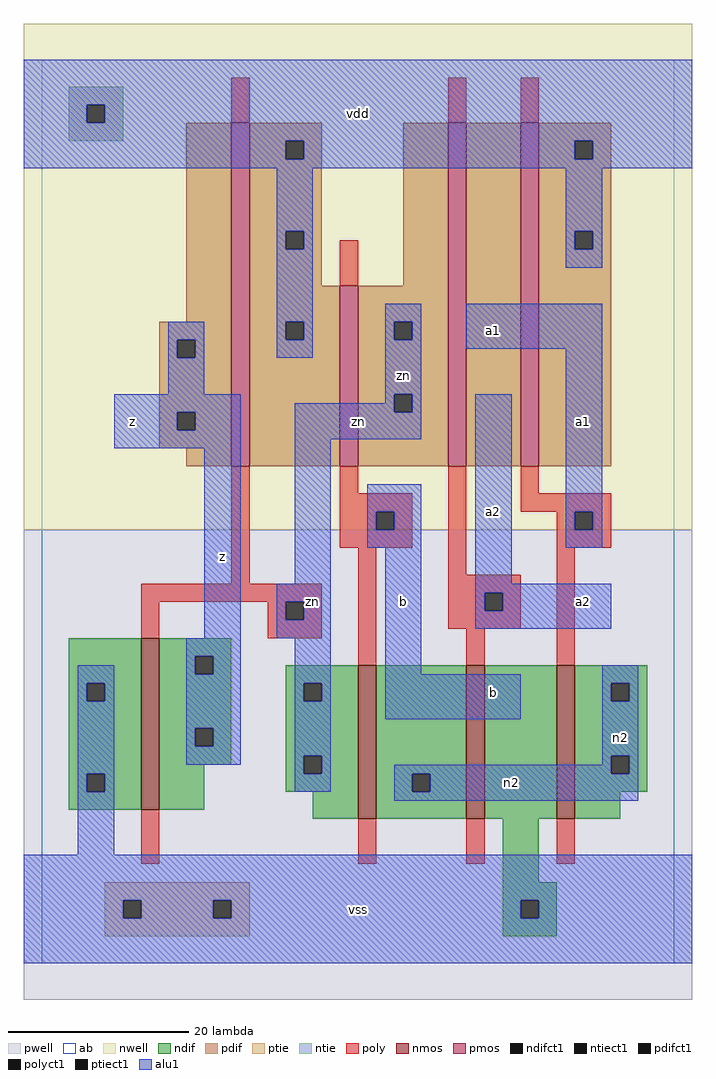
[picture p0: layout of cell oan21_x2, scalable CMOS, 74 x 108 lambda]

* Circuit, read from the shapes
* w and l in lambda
.subckt oan21_x2 a1 a2 b n2 vdd vss z zn
M1 z zn vss vss nfet w=19 l=2
M2 n2 b zn vss nfet w=17 l=2
M3 vss a2 n2 vss nfet w=17 l=2
M4 n2 a1 vss vss nfet w=17 l=2
M5 vdd zn z vdd pfet w=38 l=2
M6 zn b vdd vdd pfet w=20 l=2
M7 n1 a2 zn vdd pfet w=38 l=2
M8 vdd a1 n1 vdd pfet w=38 l=2
.ends

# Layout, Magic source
magic
tech scmos
<< ab >>
rect 0 0 70 100
<< nwell >>
rect -2 48 72 104
<< pwell >>
rect -2 -4 72 48
<< poly >>
rect 21 93 23 98
rect 45 93 47 98
rect 53 93 55 98
rect 33 75 35 80
rect 21 42 23 55
rect 33 52 35 55
rect 33 50 41 52
rect 33 48 37 50
rect 39 48 41 50
rect 33 46 41 48
rect 11 40 31 42
rect 11 36 13 40
rect 25 38 27 40
rect 29 38 31 40
rect 25 36 31 38
rect 35 33 37 46
rect 45 43 47 55
rect 53 52 55 55
rect 53 50 63 52
rect 57 48 59 50
rect 61 48 63 50
rect 57 46 63 48
rect 45 41 53 43
rect 45 39 49 41
rect 51 39 53 41
rect 45 37 53 39
rect 47 33 49 37
rect 57 33 59 46
rect 11 11 13 17
rect 35 11 37 16
rect 47 11 49 16
rect 57 11 59 16
<< ndif >>
rect 3 31 11 36
rect 3 29 5 31
rect 7 29 11 31
rect 3 21 11 29
rect 3 19 5 21
rect 7 19 11 21
rect 3 17 11 19
rect 13 34 21 36
rect 13 32 17 34
rect 19 32 21 34
rect 13 26 21 32
rect 13 24 17 26
rect 19 24 21 26
rect 13 22 21 24
rect 27 31 35 33
rect 27 29 29 31
rect 31 29 35 31
rect 27 23 35 29
rect 13 17 18 22
rect 27 21 29 23
rect 31 21 35 23
rect 27 19 35 21
rect 30 16 35 19
rect 37 21 47 33
rect 37 19 41 21
rect 43 19 47 21
rect 37 16 47 19
rect 49 16 57 33
rect 59 31 67 33
rect 59 29 63 31
rect 65 29 67 31
rect 59 23 67 29
rect 59 21 63 23
rect 65 21 67 23
rect 59 19 67 21
rect 59 16 64 19
rect 51 9 55 16
rect 51 7 57 9
rect 51 5 53 7
rect 55 5 57 7
rect 51 3 57 5
<< pdif >>
rect 16 71 21 93
rect 13 69 21 71
rect 13 67 15 69
rect 17 67 21 69
rect 13 61 21 67
rect 13 59 15 61
rect 17 59 21 61
rect 13 57 21 59
rect 16 55 21 57
rect 23 91 31 93
rect 23 89 27 91
rect 29 89 31 91
rect 23 81 31 89
rect 23 79 27 81
rect 29 79 31 81
rect 23 75 31 79
rect 40 75 45 93
rect 23 71 33 75
rect 23 69 27 71
rect 29 69 33 71
rect 23 55 33 69
rect 35 71 45 75
rect 35 69 39 71
rect 41 69 45 71
rect 35 63 45 69
rect 35 61 39 63
rect 41 61 45 63
rect 35 55 45 61
rect 47 55 53 93
rect 55 91 63 93
rect 55 89 59 91
rect 61 89 63 91
rect 55 81 63 89
rect 55 79 59 81
rect 61 79 63 81
rect 55 55 63 79
<< alu1 >>
rect -2 95 72 100
rect -2 93 5 95
rect 7 93 72 95
rect -2 91 72 93
rect -2 89 27 91
rect 29 89 59 91
rect 61 89 72 91
rect -2 88 72 89
rect 26 81 30 88
rect 26 79 27 81
rect 29 79 30 81
rect 26 71 30 79
rect 58 81 62 88
rect 58 79 59 81
rect 61 79 62 81
rect 58 77 62 79
rect 14 69 18 71
rect 14 67 15 69
rect 17 67 18 69
rect 26 69 27 71
rect 29 69 30 71
rect 26 67 30 69
rect 38 71 42 73
rect 38 69 39 71
rect 41 69 42 71
rect 14 63 18 67
rect 38 63 42 69
rect 47 68 62 73
rect 8 61 22 63
rect 38 62 39 63
rect 8 59 15 61
rect 17 59 22 61
rect 8 57 22 59
rect 18 36 22 57
rect 28 61 39 62
rect 41 61 42 63
rect 28 58 42 61
rect 28 42 32 58
rect 36 50 42 53
rect 36 48 37 50
rect 39 48 42 50
rect 36 46 42 48
rect 26 40 32 42
rect 26 38 27 40
rect 29 38 32 40
rect 26 36 32 38
rect 16 34 22 36
rect 4 31 8 33
rect 4 29 5 31
rect 7 29 8 31
rect 4 21 8 29
rect 16 32 17 34
rect 19 32 22 34
rect 16 26 22 32
rect 16 24 17 26
rect 19 24 22 26
rect 16 22 22 24
rect 28 31 32 36
rect 28 29 29 31
rect 31 29 32 31
rect 28 23 32 29
rect 38 32 42 46
rect 48 42 52 63
rect 58 50 62 68
rect 58 48 59 50
rect 61 48 62 50
rect 58 46 62 48
rect 48 41 63 42
rect 48 39 49 41
rect 51 39 63 41
rect 48 37 63 39
rect 38 27 53 32
rect 62 31 66 33
rect 62 29 63 31
rect 65 29 66 31
rect 4 19 5 21
rect 7 19 8 21
rect 28 21 29 23
rect 31 21 32 23
rect 62 23 66 29
rect 62 22 63 23
rect 28 19 32 21
rect 39 21 63 22
rect 65 21 66 23
rect 39 19 41 21
rect 43 19 66 21
rect 4 12 8 19
rect 39 18 66 19
rect -2 7 72 12
rect -2 5 9 7
rect 11 5 19 7
rect 21 5 53 7
rect 55 5 72 7
rect -2 0 72 5
<< ptie >>
rect 7 7 23 9
rect 7 5 9 7
rect 11 5 19 7
rect 21 5 23 7
rect 7 3 23 5
<< ntie >>
rect 3 95 9 97
rect 3 93 5 95
rect 7 93 9 95
rect 3 91 9 93
<< nmos >>
rect 11 17 13 36
rect 35 16 37 33
rect 47 16 49 33
rect 57 16 59 33
<< pmos >>
rect 21 55 23 93
rect 33 55 35 75
rect 45 55 47 93
rect 53 55 55 93
<< polyct1 >>
rect 37 48 39 50
rect 27 38 29 40
rect 59 48 61 50
rect 49 39 51 41
<< ndifct1 >>
rect 5 29 7 31
rect 5 19 7 21
rect 17 32 19 34
rect 17 24 19 26
rect 29 29 31 31
rect 29 21 31 23
rect 41 19 43 21
rect 63 29 65 31
rect 63 21 65 23
rect 53 5 55 7
<< ntiect1 >>
rect 5 93 7 95
<< ptiect1 >>
rect 9 5 11 7
rect 19 5 21 7
<< pdifct1 >>
rect 15 67 17 69
rect 15 59 17 61
rect 27 89 29 91
rect 27 79 29 81
rect 27 69 29 71
rect 39 69 41 71
rect 39 61 41 63
rect 59 89 61 91
rect 59 79 61 81
<< labels >>
rlabel alu1 20 45 20 45 6 z
rlabel alu1 10 60 10 60 6 z
rlabel alu1 35 6 35 6 6 vss
rlabel alu1 30 40 30 40 6 zn
rlabel alu1 35 94 35 94 6 vdd
rlabel alu1 50 30 50 30 6 b
rlabel alu1 40 40 40 40 6 b
rlabel alu1 50 50 50 50 6 a2
rlabel alu1 40 65 40 65 6 zn
rlabel alu1 35 60 35 60 6 zn
rlabel alu1 50 70 50 70 6 a1
rlabel alu1 64 25 64 25 6 n2
rlabel alu1 52 20 52 20 6 n2
rlabel alu1 60 40 60 40 6 a2
rlabel alu1 60 60 60 60 6 a1
<< end >>
